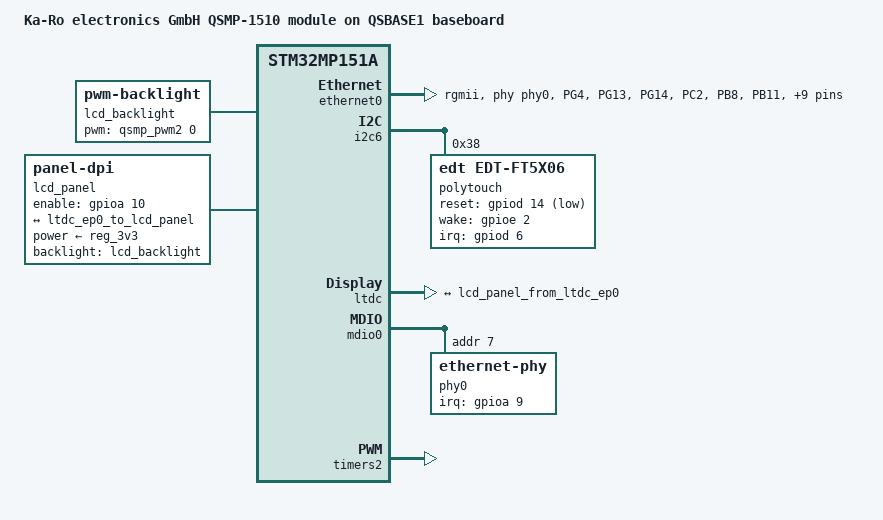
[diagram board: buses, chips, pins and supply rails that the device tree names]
// SPDX-License-Identifier: (GPL-2.0-only OR BSD-3-Clause)
/*
 * Copyright (C) 2020 Lothar Waßmann <LW@KARO-electronics.de>
 */

#include "stm32mp151a-qsmp-1510.dts"

/ {
	model = "Ka-Ro electronics GmbH QSMP-1510 module on QSBASE1 baseboard";

	aliases {
		display = &lcd_panel;
	};

	lcd_backlight: lcd-backlight {
		compatible = "pwm-backlight";
		pinctrl-names = "default", "sleep";
		pinctrl-0 = <&qsmp_pwm2_pins>;
		pinctrl-1 = <&qsmp_pwm2_sleep_pins>;
		pwms = <&qsmp_pwm2 0 500000 PWM_POLARITY_INVERTED>;
		brightness-levels = <0 1  2  3  4  5  6  7  8  9  10
				     11 12 13 14 15 16 17 18 19  20
				     21 22 23 24 25 26 27 28 29  30
				     31 32 33 34 35 36 37 38 39  40
				     41 42 43 44 45 46 47 48 49  50
				     51 52 53 54 55 56 57 58 59  60
				     61 62 63 64 65 66 67 68 69  70
				     71 72 73 74 75 76 77 78 79  80
				     81 82 83 84 85 86 87 88 89  90
				     91 92 93 94 95 96 97 98 99 100
				    >;
		default-brightness-level = <50>;
	};

	lcd_panel: panel {
		compatible = "panel-dpi";
		pinctrl-names = "default", "sleep";
		pinctrl-0 = <&qsmp_ltdc_pins>;
		pinctrl-1 = <&qsmp_ltdc_sleep_pins>;
		enable-gpios = <&gpioa 10 GPIO_ACTIVE_HIGH>;
		backlight = <&lcd_backlight>;
		power-supply = <&reg_3v3>;
		data-mapping = "rgb24";
		status = "okay";

		panel-timing {
			clock-frequency = <25200000>;
			hactive = <640>;
			vactive = <480>;
			hback-porch = <114>;
			hsync-len = <30>;
			hfront-porch = <16>;
			vback-porch = <32>;
			vsync-len = <3>;
			vfront-porch = <10>;
			hsync-active = <0>;
			vsync-active = <0>;
			de-active = <1>;
			pixelclk-active = <1>;
		};

		port {
			lcd_panel_from_ltdc_ep0: endpoint {
				remote-endpoint = <&ltdc_ep0_to_lcd_panel>;
			};
		};

		display-timings {
			VGA: VGA {
				clock-frequency = <25200000>;
				hactive = <640>;
				vactive = <480>;
				hback-porch = <48>;
				hsync-len = <96>;
				hfront-porch = <16>;
				vback-porch = <31>;
				vsync-len = <2>;
				vfront-porch = <12>;
				hsync-active = <0>;
				vsync-active = <0>;
				de-active = <1>;
				pixelclk-active = <0>;
			};

			ETV570: ETV570 {
				u-boot,panel-name = "edt,et057090dhu";
				clock-frequency = <25200000>;
				hactive = <640>;
				vactive = <480>;
				hback-porch = <114>;
				hsync-len = <30>;
				hfront-porch = <16>;
				vback-porch = <32>;
				vsync-len = <3>;
				vfront-porch = <10>;
				hsync-active = <0>;
				vsync-active = <0>;
				de-active = <1>;
				pixelclk-active = <1>;
			};

			ET0350: ET0350 {
				u-boot,panel-name = "edt,et0350g0dh6";
				clock-frequency = <6413760>;
				hactive = <320>;
				vactive = <240>;
				hback-porch = <34>;
				hsync-len = <34>;
				hfront-porch = <20>;
				vback-porch = <15>;
				vsync-len = <3>;
				vfront-porch = <4>;
				hsync-active = <0>;
				vsync-active = <0>;
				de-active = <1>;
				pixelclk-active = <0>;
			};

			ET0430: ET0430 {
				u-boot,panel-name = "edt,et0430g0dh6";
				clock-frequency = <9009000>;
				hactive = <480>;
				vactive = <272>;
				hback-porch = <2>;
				hsync-len = <41>;
				hfront-porch = <2>;
				vback-porch = <2>;
				vsync-len = <10>;
				vfront-porch = <2>;
				hsync-active = <0>;
				vsync-active = <0>;
				de-active = <1>;
				pixelclk-active = <1>;
			};

			ET0500: ET0500 {
				clock-frequency = <33264000>;
				hactive = <800>;
				vactive = <480>;
				hback-porch = <88>;
				hsync-len = <128>;
				hfront-porch = <40>;
				vback-porch = <33>;
				vsync-len = <2>;
				vfront-porch = <10>;
				hsync-active = <0>;
				vsync-active = <0>;
				de-active = <1>;
				pixelclk-active = <0>;
			};

			ET0700: ET0700 { /* same as ET0500 */
				u-boot,panel-name = "edt,etm0700g0dh6";
				clock-frequency = <33264000>;
				hactive = <800>;
				vactive = <480>;
				hback-porch = <88>;
				hsync-len = <128>;
				hfront-porch = <40>;
				vback-porch = <33>;
				vsync-len = <2>;
				vfront-porch = <10>;
				hsync-active = <0>;
				vsync-active = <0>;
				de-active = <1>;
				pixelclk-active = <0>;
			};

			ETQ570: ETQ570 {
				clock-frequency = <6596040>;
				hactive = <320>;
				vactive = <240>;
				hback-porch = <38>;
				hsync-len = <30>;
				hfront-porch = <30>;
				vback-porch = <16>;
				vsync-len = <3>;
				vfront-porch = <4>;
				hsync-active = <0>;
				vsync-active = <0>;
				de-active = <1>;
				pixelclk-active = <0>;
			};
		};
	};
};

&ethernet0 {
	pinctrl-0 = <&qsmp_ethernet0_rgmii_pins>;
	pinctrl-1 = <&qsmp_ethernet0_rgmii_sleep_pins>;
	phy-mode = "rgmii";
	phy-handle = <&phy0>;
};

&i2c6 {
	status = "okay";

	polytouch: touchpanel@38 {
		compatible = "edt,edt-ft5x06";
		reg = <0x38>;
		interrupt-parent = <&gpiod>;
		interrupts = <6 IRQ_TYPE_EDGE_FALLING>;
		reset-gpios = <&gpiod 14 GPIO_ACTIVE_LOW>; /* Pin 149 */
		wake-gpios = <&gpioe 2 GPIO_ACTIVE_HIGH>; /* Pin 152 */
		wakeup-source;
		status = "okay";
	};
};

&ltdc {
	status = "okay";

	port {
		ltdc_ep0_to_lcd_panel: endpoint@0 {
			reg = <0>;
			remote-endpoint = <&lcd_panel_from_ltdc_ep0>;
		};
	};
};

&mdio0 {
	phy0: ethernet-phy@7 {
		reg = <7>;
		interrupt-parent = <&gpioa>;
		interrupts = <9 IRQ_TYPE_EDGE_FALLING>;
		micrel,force-master;
		rxd0-skew-ps = <(420 + 6)>;
		rxd1-skew-ps = <(420 + 5)>;
		rxd2-skew-ps = <(420 - 1)>;
		rxd3-skew-ps = <(420 - 22)>;
		txd0-skew-ps = <(420 - 103)>;
		txd1-skew-ps = <(420 - 104)>;
		txd2-skew-ps = <(420 - 73)>;
		txd3-skew-ps = <(420 - 25)>;
		txen-skew-ps = <(420 + 15)>;
		rxdv-skew-ps = <(420 - 12)>;
		rxc-skew-ps = <(900 + 0)>;
		txc-skew-ps = <(900 + 1000)>;
	};
};

&timers2 {
	status = "okay";

	qsmp_pwm2: pwm {
		status = "okay";
	};

	timer@1 {
		status = "okay";
	};
};

&uart4_pins {
	pins1 {
		/delete-property/ bias-disable;
		bias-pull-up;
	};
};

&pinctrl {
	qsmp_ethernet0_rgmii_pins: qsmp-ethernet0-rgmii-pins {
		pins1 {
			pinmux = <
				  STM32_PINMUX('G', 4, AF11) /* ETH_RGMII_GTX_CLK */
				  STM32_PINMUX('G', 13, AF11) /* ETH_RGMII_TXD0 */
				  STM32_PINMUX('G', 14, AF11) /* ETH_RGMII_TXD1 */
				  STM32_PINMUX('C', 2, AF11) /* ETH_RGMII_TXD2 */
				  STM32_PINMUX('B', 8, AF11) /* ETH_RGMII_TXD3 */
			>;
			bias-disable;
			drive-push-pull;
			slew-rate = <3>;
		};

		pins2 {
			pinmux = <
				  STM32_PINMUX('B', 11, AF11) /* ETH_RGMII_TX_CTL */
				  STM32_PINMUX('A', 2, AF11) /* ETH_MDIO */
				  STM32_PINMUX('C', 1, AF11) /* ETH_MDC */
			>;
			bias-disable;
			drive-push-pull;
			slew-rate = <1>;
		};

		pins3 {
			/* Micrel KSZ9031 strap pins */
			pinmux = <
				  STM32_PINMUX('A', 7, AF11) /* RX_CTL | CLK125_EN */
				  STM32_PINMUX('C', 4, AF11) /* RXD0 | MODE0 */
				  STM32_PINMUX('C', 5, AF11) /* RXD1 | MODE1 */
				  STM32_PINMUX('B', 0, AF11) /* RXD2 | MODE2 */
				  STM32_PINMUX('H', 7, AF11) /* RXD3 | MODE3 */
			>;
			bias-pull-up;
		};

		pins4 {
			pinmux = <
				  STM32_PINMUX('A', 1, AF11) /* RX_CLK | PHYAD2 */
			>;
			bias-pull-down;
		};

		pins5 {
			pinmux = <
				  STM32_PINMUX('G', 5, AF11) /* CLK125 | LED_MODE */
			>;
			bias-pull-up;
		};
	};

	qsmp_ethernet0_rgmii_sleep_pins: qsmp-rgmii-sleep-pins {
		pins1 {
			pinmux = <
				  STM32_PINMUX('G', 5, ANALOG) /* ETH_RGMII_CLK125 */
				  STM32_PINMUX('G', 4, ANALOG) /* ETH_RGMII_GTX_CLK */
				  STM32_PINMUX('G', 13, ANALOG) /* ETH_RGMII_TXD0 */
				  STM32_PINMUX('G', 14, ANALOG) /* ETH_RGMII_TXD1 */
				  STM32_PINMUX('C', 2, ANALOG) /* ETH_RGMII_TXD2 */
				  STM32_PINMUX('B', 8, ANALOG) /* ETH_RGMII_TXD3 */
				  STM32_PINMUX('B', 11, ANALOG) /* ETH_RGMII_TX_CTL */
				  STM32_PINMUX('A', 2, ANALOG) /* ETH_MDIO */
				  STM32_PINMUX('C', 1, ANALOG) /* ETH_MDC */
				  STM32_PINMUX('C', 4, ANALOG) /* ETH_RGMII_RXD0 */
				  STM32_PINMUX('C', 5, ANALOG) /* ETH_RGMII_RXD1 */
				  STM32_PINMUX('B', 0, ANALOG) /* ETH_RGMII_RXD2 */
				  STM32_PINMUX('H', 7, ANALOG) /* ETH_RGMII_RXD3 */
				  STM32_PINMUX('A', 1, ANALOG) /* ETH_RGMII_RX_CLK */
				  STM32_PINMUX('A', 7, ANALOG) /* ETH_RGMII_RX_CTL */
			>;
		};
	};

	qsmp_ltdc_pins: qsmp-ltdc-pins {
		pins {
			pinmux = <
				  STM32_PINMUX('G',  7, AF14) /* LCD_CLK */
				  STM32_PINMUX('I', 10, AF14) /* LCD_HSYNC */
				  STM32_PINMUX('I',  9, AF14) /* LCD_VSYNC */
				  STM32_PINMUX('E', 13, AF14) /* LCD_DE */

				  STM32_PINMUX('H',  2, AF14) /* LCD_R0 */
				  STM32_PINMUX('H',  3, AF14) /* LCD_R1 */
				  STM32_PINMUX('H',  8, AF14) /* LCD_R2 */
				  STM32_PINMUX('H',  9, AF14) /* LCD_R3 */
				  STM32_PINMUX('H', 10, AF14) /* LCD_R4 */
				  STM32_PINMUX('H', 11, AF14) /* LCD_R5 */
				  STM32_PINMUX('H', 12, AF14) /* LCD_R6 */
				  STM32_PINMUX('E', 15, AF14) /* LCD_R7 */
				  STM32_PINMUX('B',  1, AF14) /* LCD_G0 */
				  STM32_PINMUX('E',  6, AF14) /* LCD_G1 */
				  STM32_PINMUX('H', 13, AF14) /* LCD_G2 */
				  STM32_PINMUX('H', 14, AF14) /* LCD_G3 */
				  STM32_PINMUX('H', 15, AF14) /* LCD_G4 */
				  STM32_PINMUX('I',  0, AF14) /* LCD_G5 */
				  STM32_PINMUX('I',  1, AF14) /* LCD_G6 */
				  STM32_PINMUX('I',  2, AF14) /* LCD_G7 */
				  STM32_PINMUX('E',  4, AF14) /* LCD_B0 */
				  STM32_PINMUX('G', 12, AF14) /* LCD_B1 */
				  STM32_PINMUX('G', 10, AF14) /* LCD_B2 */
				  STM32_PINMUX('D', 10, AF14) /* LCD_B3 */
				  STM32_PINMUX('I',  4, AF14) /* LCD_B4 */
				  STM32_PINMUX('I',  5, AF14) /* LCD_B5 */
				  STM32_PINMUX('I',  6, AF14) /* LCD_B6 */
				  STM32_PINMUX('D',  8, AF14) /* LCD_B7 */
			>;
			bias-disable;
			drive-push-pull;
			slew-rate = <3>;
		};
	};

	qsmp_ltdc_sleep_pins: qsmp-ltdc-sleep-pins {
		pins {
			pinmux = <
				  STM32_PINMUX('G',  7, ANALOG) /* LCD_CLK */
				  STM32_PINMUX('I', 10, ANALOG) /* LCD_HSYNC */
				  STM32_PINMUX('I',  9, ANALOG) /* LCD_VSYNC */
				  STM32_PINMUX('E', 13, ANALOG) /* LCD_DE */

				  STM32_PINMUX('H',  2, ANALOG) /* LCD_R0 */
				  STM32_PINMUX('H',  3, ANALOG) /* LCD_R1 */
				  STM32_PINMUX('H',  8, ANALOG) /* LCD_R2 */
				  STM32_PINMUX('H',  9, ANALOG) /* LCD_R3 */
				  STM32_PINMUX('H', 10, ANALOG) /* LCD_R4 */
				  STM32_PINMUX('H', 11, ANALOG) /* LCD_R5 */
				  STM32_PINMUX('H', 12, ANALOG) /* LCD_R6 */
				  STM32_PINMUX('E', 15, ANALOG) /* LCD_R7 */
				  STM32_PINMUX('B',  1, ANALOG) /* LCD_G0 */
				  STM32_PINMUX('E',  6, ANALOG) /* LCD_G1 */
				  STM32_PINMUX('H', 13, ANALOG) /* LCD_G2 */
				  STM32_PINMUX('H', 14, ANALOG) /* LCD_G3 */
				  STM32_PINMUX('H', 15, ANALOG) /* LCD_G4 */
				  STM32_PINMUX('I',  0, ANALOG) /* LCD_G5 */
				  STM32_PINMUX('I',  1, ANALOG) /* LCD_G6 */
				  STM32_PINMUX('I',  2, ANALOG) /* LCD_G7 */
				  STM32_PINMUX('E',  4, ANALOG) /* LCD_B0 */
				  STM32_PINMUX('G', 12, ANALOG) /* LCD_B1 */
				  STM32_PINMUX('G', 10, ANALOG) /* LCD_B2 */
				  STM32_PINMUX('D', 10, ANALOG) /* LCD_B3 */
				  STM32_PINMUX('I',  4, ANALOG) /* LCD_B4 */
				  STM32_PINMUX('I',  5, ANALOG) /* LCD_B5 */
				  STM32_PINMUX('I',  6, ANALOG) /* LCD_B6 */
				  STM32_PINMUX('D',  8, ANALOG) /* LCD_B7 */
			>;
		};
	};

	qsmp_pwm2_pins: qsmp-pwm2-pins {
		pins {
			pinmux = <STM32_PINMUX('A', 15, AF1)>; /* TIM2_CH1 */
			drive-push-pull;
			/*
			 * pull PWM output HIGH when PWM is disabled;
			 * change to 'bias-pull-down' when LCD backlight pin is active HIGH
			 */
			bias-pull-up;
			slew-rate = <0>;
		};
	};

	qsmp_pwm2_sleep_pins: qsmp-pwm2-sleep-pins {
		pins {
			pinmux = <STM32_PINMUX('A', 15, ANALOG)>; /* TIM2_CH1 */
			/*
			 * pull PWM output HIGH when PWM is disabled;
			 * change to 'bias-pull-down' when LCD backlight pin is active HIGH
			 */
			bias-pull-up;
		};
	};
};
